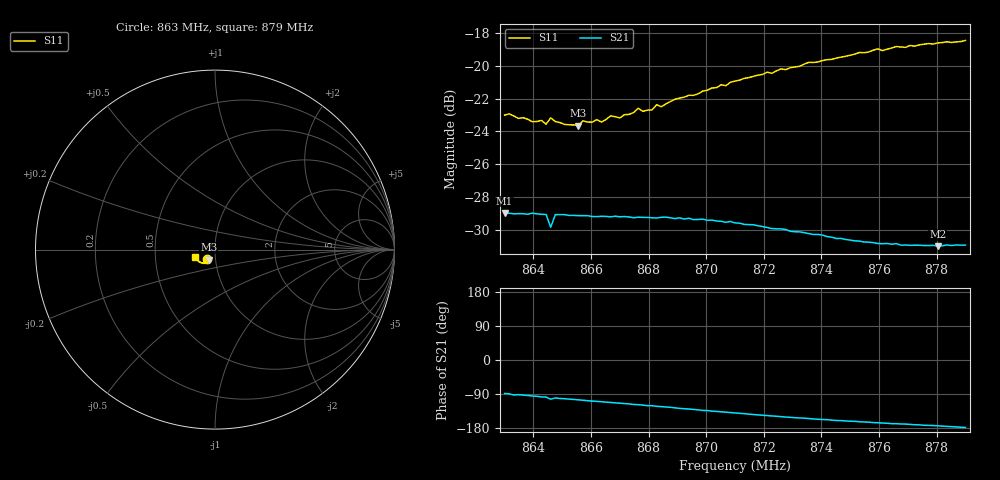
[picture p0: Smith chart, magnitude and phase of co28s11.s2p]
# HZ S RI R 50
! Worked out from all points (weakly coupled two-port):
!   101 points, 863 MHz to 879 MHz, reference 50 ohm
!   highest |S21| = -28.99 dB at 863 MHz (marker M1); lowest = -31.0 dB at 878.04 MHz (marker M2)
!   lowest |S11| = -23.7 dB at 865.56 MHz (marker M3), VSWR 1.14, Z = 46.3 - j5.16 ohm
!   |S11| at or under -10 dB: start of sweep to end of sweep
!   S12 and S22 are empty: the file has one direction only
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8.63e8  -0.0447 -0.0548  0.00101 -0.0355  0 0  0 0
8.6396e8  -0.0402 -0.0542  -0.00307 -0.0354  0 0  0 0
8.6428e8  -0.0395 -0.0555  -0.00451 -0.0349  0 0  0 0
8.6444e8  -0.0387 -0.0539  -0.00484 -0.0349  0 0  0 0
8.646e8  -0.0422 -0.055  -0.00752 -0.0313  0 0  0 0
8.6476e8  -0.0382 -0.0557  -0.00615 -0.0346  0 0  0 0
8.6556e8  -0.035 -0.0555  -0.0091 -0.0337  0 0  0 0
8.6572e8  -0.0342 -0.0587  -0.00971 -0.0335  0 0  0 0
8.6636e8  -0.0343 -0.0579  -0.0119 -0.0326  0 0  0 0
8.6668e8  -0.0341 -0.0615  -0.0129 -0.0321  0 0  0 0
8.67e8  -0.0341 -0.0604  -0.014 -0.0316  0 0  0 0
8.6764e8  -0.0357 -0.065  -0.0162 -0.0305  0 0  0 0
8.678e8  -0.0341 -0.0641  -0.0167 -0.0301  0 0  0 0
8.6812e8  -0.0344 -0.0648  -0.0175 -0.0296  0 0  0 0
8.6828e8  -0.0355 -0.0673  -0.0183 -0.0291  0 0  0 0
8.6844e8  -0.0356 -0.066  -0.0188 -0.0289  0 0  0 0
8.6892e8  -0.0376 -0.0695  -0.0203 -0.0275  0 0  0 0
8.71e8  -0.0485 -0.0756  -0.0253 -0.0215  0 0  0 0
8.7372e8  -0.0681 -0.0763  -0.0279 -0.0126  0 0  0 0
8.7644e8  -0.0936 -0.0638  -0.0279 -0.00594  0 0  0 0
8.7804e8  -0.1064 -0.0494  -0.028 -0.00309  0 0  0 0
8.79e8  -0.1126 -0.0397  -0.0284 -0.00102  0 0  0 0
